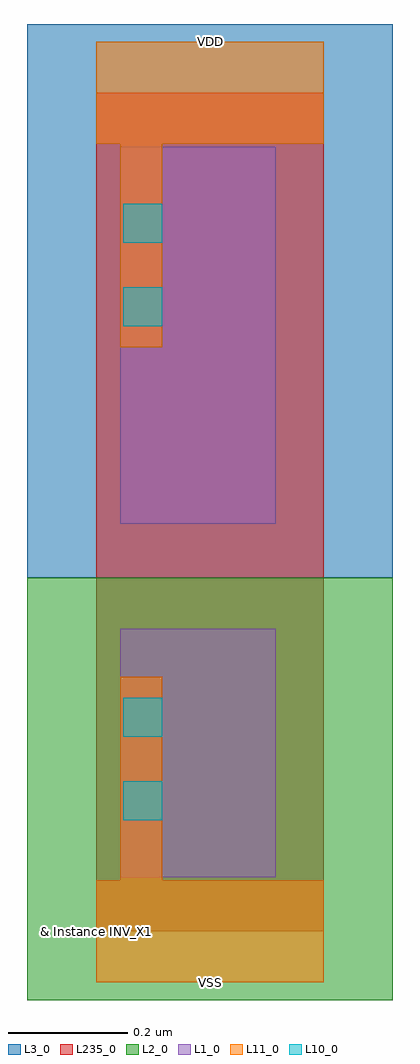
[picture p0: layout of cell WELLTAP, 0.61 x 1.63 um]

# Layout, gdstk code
import gdstk
lib = gdstk.Library(unit=1e-6, precision=1e-10)
def R(c, l, rs):  # rectangles x0, y0, x1, y1
    for r in rs: c.add(gdstk.rectangle(r[:2], r[2:], *l))
def P(c, l, *ps):  # polygons
    for p in ps: c.add(gdstk.Polygon(p, *l))
L1_0 = (1, 0)
L2_0 = (2, 0)
L3_0 = (3, 0)
L10_0 = (10, 0)
L11_0 = (11, 0)
L235_0 = (235, 0)

welltap = lib.new_cell('WELLTAP')
R(welltap, L1_0, [(0.04,0.09,0.3,0.505), (0.04,0.68,0.3,1.31)])
R(welltap, L2_0, [(-0.115,-0.115,0.495,0.59)])
R(welltap, L3_0, [(-0.115,0.59,0.495,1.515)])
R(welltap, L10_0, [(0.045,0.185,0.11,0.25), (0.045,0.325,0.11,0.39), (0.045,1.01,0.11,1.075), (0.045,1.15,0.11,1.215)])
P(welltap, L11_0, [(0,1.315),(0.04,1.315),(0.04,0.975),(0.11,0.975),(0.11,1.315),(0.38,1.315),(0.38,1.485),(0,1.485)],
  [(0,-0.085),(0.38,-0.085),(0.38,0.085),(0.11,0.085),(0.11,0.425),(0.04,0.425),(0.04,0.085),(0,0.085)])
R(welltap, L235_0, [(0,0,0.38,1.4)])
welltap.add(gdstk.Label('VSS', (0.19,-0.085), layer=11, texttype=0))
welltap.add(gdstk.Label('VDD', (0.19,1.485), layer=11, texttype=0))
welltap.add(gdstk.Label('& Instance INV_X1', (0,0), layer=63, texttype=63))
welltap.add(gdstk.Label('& Version 2010_12', (0,0), layer=63, texttype=63))
welltap.add(gdstk.Label('& Product Open Cell Library', (0,0), layer=63, texttype=63))
welltap.add(gdstk.Label('& Vendor Nangate Inc', (0,0), layer=63, texttype=63))

lib.write_gds('WELLTAP.gds')
